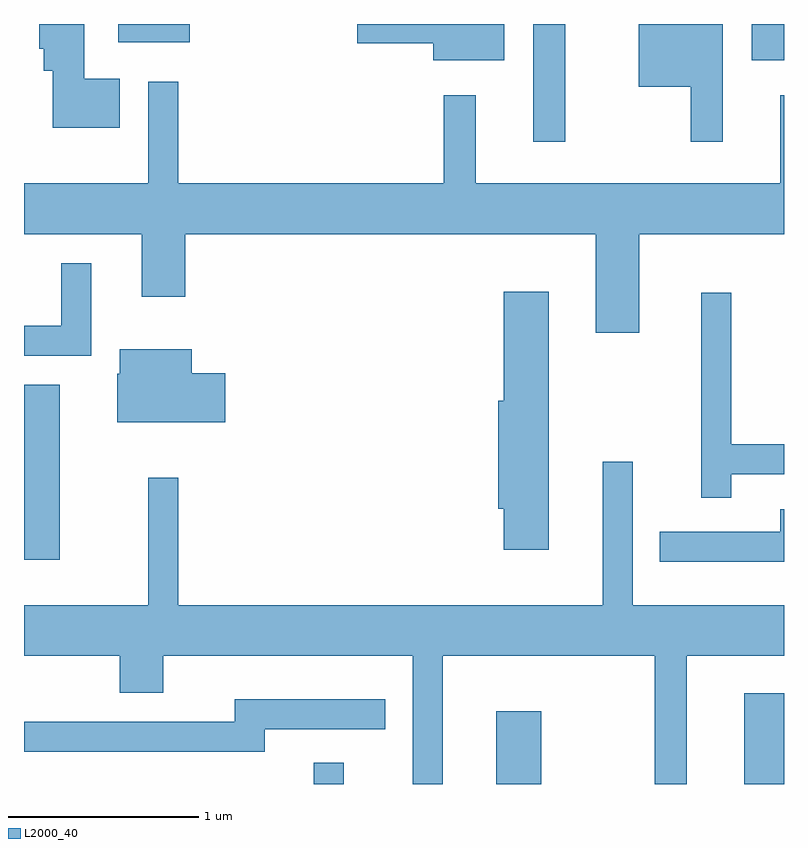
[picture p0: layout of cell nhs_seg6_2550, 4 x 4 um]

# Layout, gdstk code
import gdstk
lib = gdstk.Library(unit=1e-6, precision=1e-09)
def R(c, l, rs):  # rectangles x0, y0, x1, y1
    for r in rs: c.add(gdstk.rectangle(r[:2], r[2:], *l))
def P(c, l, *ps):  # polygons
    for p in ps: c.add(gdstk.Polygon(p, *l))
L2000_40 = (2000, 40)

nhs_seg6_2550 = lib.new_cell('nhs_seg6_2550')
R(nhs_seg6_2550, L2000_40, [(263.136,1638.162,263.294,1638.273), (264.096,1638.162,264.334,1638.544), (265.401,1638.162,265.611,1638.639), (261.611,1639.341,261.799,1640.264), (264.291,1641.543,264.459,1642.162), (265.441,1641.971,265.611,1642.162), (262.106,1642.066,262.484,1642.162)])
P(nhs_seg6_2550, L2000_40, [(264.139,1642.162),(263.366,1642.162),(263.366,1642.061),(263.766,1642.061),(263.766,1641.971),(264.139,1641.971)],
  [(265.289,1642.162),(264.846,1642.162),(264.846,1641.831),(265.121,1641.831),(265.121,1641.543),(265.289,1641.543)],
  [(262.114,1641.874),(261.929,1641.874),(261.929,1642.162),(261.691,1642.162),(261.691,1642.031),(261.716,1642.031),(261.716,1641.916),(261.761,1641.916),(261.761,1641.616),(262.114,1641.616)],
  [(264.849,1641.056),(265.611,1641.056),(265.611,1641.788),(265.591,1641.788),(265.591,1641.324),(263.989,1641.324),(263.989,1641.788),(263.821,1641.788),(263.821,1641.324),(262.424,1641.324),(262.424,1641.858),(262.266,1641.858),(262.266,1641.324),(261.611,1641.324),(261.611,1641.056),(262.231,1641.056),(262.231,1640.726),(262.459,1640.726),(262.459,1641.056),(264.621,1641.056),(264.621,1640.536),(264.849,1640.536)],
  [(261.964,1640.903),(261.806,1640.903),(261.806,1640.574),(261.611,1640.574),(261.611,1640.416),(261.964,1640.416)],
  [(264.374,1640.754),(264.136,1640.754),(264.136,1640.179),(264.106,1640.179),(264.106,1639.611),(264.136,1639.611),(264.136,1639.396),(264.374,1639.396)],
  [(265.334,1639.791),(265.611,1639.791),(265.611,1639.949),(265.334,1639.949),(265.334,1640.748),(265.176,1640.748),(265.176,1639.668),(265.334,1639.668)],
  [(262.669,1640.324),(262.494,1640.324),(262.494,1640.449),(262.116,1640.449),(262.116,1640.32),(262.101,1640.32),(262.101,1640.066),(262.669,1640.066)],
  [(262.424,1639.773),(262.266,1639.773),(262.266,1639.104),(261.611,1639.104),(261.611,1638.836),(262.116,1638.836),(262.116,1638.641),(262.344,1638.641),(262.344,1638.836),(263.656,1638.836),(263.656,1638.162),(263.814,1638.162),(263.814,1638.836),(264.931,1638.836),(264.931,1638.162),(265.099,1638.162),(265.099,1638.836),(265.611,1638.836),(265.611,1639.104),(264.814,1639.104),(264.814,1639.858),(264.656,1639.858),(264.656,1639.104),(262.424,1639.104)],
  [(265.611,1639.609),(265.591,1639.609),(265.591,1639.489),(264.958,1639.489),(264.958,1639.331),(265.611,1639.331)],
  [(262.879,1638.451),(263.513,1638.451),(263.513,1638.609),(262.721,1638.609),(262.721,1638.489),(261.611,1638.489),(261.611,1638.331),(262.879,1638.331)])

lib.write_gds('nhs_seg6_2550.gds')
